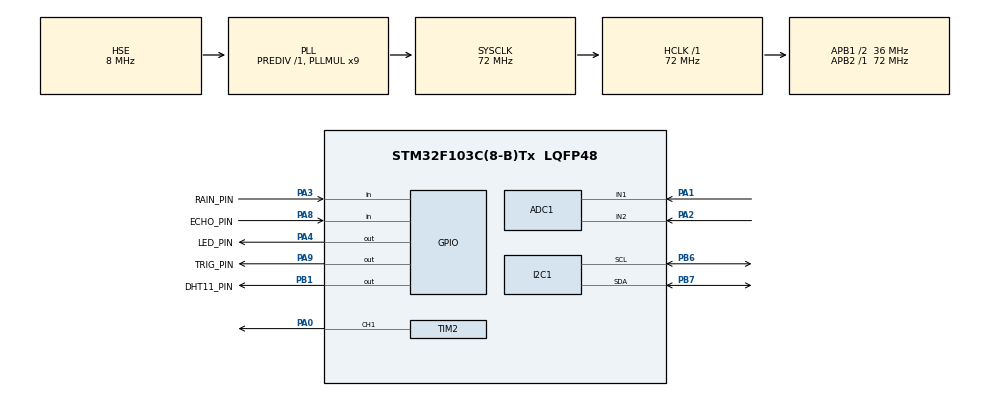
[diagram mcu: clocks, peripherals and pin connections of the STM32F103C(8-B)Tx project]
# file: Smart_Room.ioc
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ADC1.Channel-0\#ChannelRegularConversion=ADC_CHANNEL_1
ADC1.Channel-1\#ChannelRegularConversion=ADC_CHANNEL_1
ADC1.NbrOfConversion=2
ADC1.NbrOfConversionFlag=1
ADC1.Rank-0\#ChannelRegularConversion=1
ADC1.Rank-1\#ChannelRegularConversion=2
ADC1.SamplingTime-0\#ChannelRegularConversion=ADC_SAMPLETIME_1CYCLE_5
ADC1.SamplingTime-1\#ChannelRegularConversion=ADC_SAMPLETIME_1CYCLE_5
ADC1.master=1
I2C1.I2C_Mode=I2C_Fast
Mcu.Family=STM32F1
Mcu.Name=STM32F103C(8-B)Tx
Mcu.Package=LQFP48
NVIC.PriorityGroup=NVIC_PRIORITYGROUP_4
PA0-WKUP.Signal=S_TIM2_CH1_ETR
PA1.Signal=ADCx_IN1
PA13.Mode=Serial_Wire
PA13.Signal=SYS_JTMS-SWDIO
PA14.Mode=Serial_Wire
PA14.Signal=SYS_JTCK-SWCLK
PA2.Signal=ADCx_IN2
PA3.GPIO_Label=RAIN_PIN
PA3.Signal=GPIO_Input
PA4.GPIO_Label=LED_PIN
PA4.Signal=GPIO_Output
PA8.GPIO_Label=ECHO_PIN
PA8.Signal=GPIO_Input
PA9.GPIO_Label=TRIG_PIN
PA9.Signal=GPIO_Output
PB1.GPIO_Label=DHT11_PIN
PB1.Signal=GPIO_Output
PB6.Mode=I2C
PB6.Signal=I2C1_SCL
PB7.Mode=I2C
PB7.Signal=I2C1_SDA
PD0-OSC_IN.Mode=HSE-External-Oscillator
PD0-OSC_IN.Signal=RCC_OSC_IN
PD1-OSC_OUT.Mode=HSE-External-Oscillator
PD1-OSC_OUT.Signal=RCC_OSC_OUT
ProjectManager.HeapSize=0x200
ProjectManager.StackSize=0x400
ProjectManager.TargetToolchain=MDK-ARM V5.32
RCC.ADCPresc=RCC_ADCPCLK2_DIV6
RCC.AHBFreq_Value=72000000
RCC.APB1CLKDivider=RCC_HCLK_DIV2
RCC.APB1Freq_Value=36000000
RCC.APB1TimFreq_Value=72000000
RCC.APB2Freq_Value=72000000
RCC.APB2TimFreq_Value=72000000
RCC.HCLKFreq_Value=72000000
RCC.PLLMUL=RCC_PLL_MUL9
RCC.PLLSourceVirtual=RCC_PLLSOURCE_HSE
RCC.SYSCLKFreq_VALUE=72000000
RCC.SYSCLKSource=RCC_SYSCLKSOURCE_PLLCLK
RCC.USBFreq_Value=72000000
SH.ADCx_IN1.0=ADC1_IN1,IN1
SH.ADCx_IN2.0=ADC1_IN2,IN2
SH.S_TIM2_CH1_ETR.0=TIM2_CH1,PWM Generation1 CH1
TIM1.Prescaler=63
TIM2.Channel-PWM\ Generation1\ CH1=TIM_CHANNEL_1
TIM2.Period=19999
TIM2.Prescaler=63
VP_TIM1_VS_ClockSourceINT.Mode=Internal
VP_TIM2_VS_ClockSourceINT.Mode=Internal
board=custom

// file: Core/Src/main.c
/* USER CODE BEGIN Header */
/**
  ******************************************************************************
  * @file           : main.c
  * @brief          : Main program body
  ******************************************************************************
  * @attention
  *
  * Copyright (c) 2025 STMicroelectronics.
  * All rights reserved.
  *
  * This software is licensed under terms that can be found in the LICENSE file
  * in the root directory of this software component.
  * If no LICENSE file comes with this software, it is provided AS-IS.
  *
  ******************************************************************************
  */
/* USER CODE END Header */
#include "main.h"

/* USER CODE BEGIN Includes */
#include "ssd1306.h"
#include "stdio.h"
#include "string.h"
/* USER CODE END Includes */

/* USER CODE BEGIN PD */
#define SERVO_CLOSED 500
#define SERVO_OPEN   1400
/* USER CODE END PD */

ADC_HandleTypeDef hadc1;

I2C_HandleTypeDef hi2c1;

TIM_HandleTypeDef htim1;
TIM_HandleTypeDef htim2;

/* USER CODE BEGIN PV */
// Sensor Variables
uint16_t dist_cm = 0;
uint16_t smoke_val = 0;
uint16_t ldr_val = 0;
uint8_t rain_status = 1;
uint8_t temp = 0;
uint8_t humid = 0;

// Logic Flags
char oled_buffer[32];
uint8_t person_detected = 0;
uint16_t current_servo_pos = 500; // Start Closed

// NEW: Timer for the 2-second delay
uint32_t presence_timer = 0;
/* USER CODE END PV */

void SystemClock_Config(void);
static void MX_GPIO_Init(void);
static void MX_I2C1_Init(void);
static void MX_TIM1_Init(void);
static void MX_TIM2_Init(void);
static void MX_ADC1_Init(void);

/* USER CODE BEGIN 0 */

// --- 1. MICROSECOND DELAY ---
void delay_us(uint16_t us) {
    __HAL_TIM_SET_COUNTER(&htim1, 0);
    while (__HAL_TIM_GET_COUNTER(&htim1) < us);
}

// --- 2. SMOOTH SERVO CONTROL ---
void Servo_Move_To(uint16_t target_pos) {
    if (current_servo_pos == target_pos) return;
    if (current_servo_pos < target_pos) {
        for (int i = current_servo_pos; i <= target_pos; i += 20) {
            __HAL_TIM_SET_COMPARE(&htim2, TIM_CHANNEL_1, i);
            HAL_Delay(20);
        }
    } else {
        for (int i = current_servo_pos; i >= target_pos; i -= 20) {
            __HAL_TIM_SET_COMPARE(&htim2, TIM_CHANNEL_1, i);
            HAL_Delay(20);
        }
    }
    current_servo_pos = target_pos;
}

// --- 3. ROBUST SONAR SENSOR ---
uint16_t Get_Distance(void) {
    uint32_t pMillis;
    uint32_t val1 = 0;
    uint32_t val2 = 0;
    uint32_t diff = 0;

    HAL_GPIO_WritePin(TRIG_PIN_GPIO_Port, TRIG_PIN_Pin, GPIO_PIN_RESET);
    delay_us(3);
    HAL_GPIO_WritePin(TRIG_PIN_GPIO_Port, TRIG_PIN_Pin, GPIO_PIN_SET);
    delay_us(10);
    HAL_GPIO_WritePin(TRIG_PIN_GPIO_Port, TRIG_PIN_Pin, GPIO_PIN_RESET);

    pMillis = HAL_GetTick();
    while (!(HAL_GPIO_ReadPin(ECHO_PIN_GPIO_Port, ECHO_PIN_Pin))) {
        if (HAL_GetTick() - pMillis > 10) return 999;
    }
    val1 = __HAL_TIM_GET_COUNTER(&htim1);

    pMillis = HAL_GetTick();
    while ((HAL_GPIO_ReadPin(ECHO_PIN_GPIO_Port, ECHO_PIN_Pin))) {
        if (HAL_GetTick() - pMillis > 50) return 999;
    }
    val2 = __HAL_TIM_GET_COUNTER(&htim1);

    if (val2 >= val1) diff = val2 - val1;
    else diff = (0xFFFF - val1) + val2;

    uint16_t dist = diff / 58;
    if (dist > 500) return 501;
    return dist;
}

// --- 4. SAFE ADC READER (Anti-Ghosting Version) ---
uint16_t Read_ADC_Channel(uint32_t channel) {
    ADC_ChannelConfTypeDef sConfig = {0};
    sConfig.Channel = channel;
    sConfig.Rank = ADC_REGULAR_RANK_1;
    // Maximum sampling time to allow voltage to stabilize
    sConfig.SamplingTime = ADC_SAMPLETIME_239CYCLES_5;

    if (HAL_ADC_ConfigChannel(&hadc1, &sConfig) != HAL_OK) {
        Error_Handler();
    }

    // Delay to let the multiplexer switch physically settle
    delay_us(50);

    // --- READ 1: DUMMY (Flush) ---
    HAL_ADC_Start(&hadc1);
    HAL_ADC_PollForConversion(&hadc1, 100);
    volatile uint16_t dummy = HAL_ADC_GetValue(&hadc1);
    HAL_ADC_Stop(&hadc1);

    // --- READ 2: REAL (Data) ---
    HAL_ADC_Start(&hadc1);
    HAL_ADC_PollForConversion(&hadc1, 100);
    uint16_t val = HAL_ADC_GetValue(&hadc1);
    HAL_ADC_Stop(&hadc1);

    return val;
}

// --- 5. DHT11 READER ---
void Read_DHT11(void) {
    uint8_t i, j;
    uint8_t data[5] = {0};
    GPIO_InitTypeDef GPIO_InitStruct = {0};
    GPIO_InitStruct.Pin = DHT11_PIN_Pin;
    GPIO_InitStruct.Mode = GPIO_MODE_OUTPUT_PP;
    GPIO_InitStruct.Speed = GPIO_SPEED_FREQ_LOW;
    HAL_GPIO_Init(DHT11_PIN_GPIO_Port, &GPIO_InitStruct);
    HAL_GPIO_WritePin(DHT11_PIN_GPIO_Port, DHT11_PIN_Pin, GPIO_PIN_RESET);
    HAL_Delay(18);
    HAL_GPIO_WritePin(DHT11_PIN_GPIO_Port, DHT11_PIN_Pin, GPIO_PIN_SET);
    delay_us(20);
    GPIO_InitStruct.Mode = GPIO_MODE_INPUT;
    GPIO_InitStruct.Pull = GPIO_NOPULL;
    HAL_GPIO_Init(DHT11_PIN_GPIO_Port, &GPIO_InitStruct);
    delay_us(40);
    if (HAL_GPIO_ReadPin(DHT11_PIN_GPIO_Port, DHT11_PIN_Pin)) return;
    delay_us(80);
    if (!HAL_GPIO_ReadPin(DHT11_PIN_GPIO_Port, DHT11_PIN_Pin)) return;
    while (HAL_GPIO_ReadPin(DHT11_PIN_GPIO_Port, DHT11_PIN_Pin));
    for (i = 0; i < 5; i++) {
        for (j = 0; j < 8; j++) {
            while (!HAL_GPIO_ReadPin(DHT11_PIN_GPIO_Port, DHT11_PIN_Pin));
            delay_us(40);
            if (HAL_GPIO_ReadPin(DHT11_PIN_GPIO_Port, DHT11_PIN_Pin)) {
                data[i] |= (1 << (7 - j));
                while (HAL_GPIO_ReadPin(DHT11_PIN_GPIO_Port, DHT11_PIN_Pin));
            }
        }
    }
    humid = data[0];
    temp = data[2];
}
/* USER CODE END 0 */

int main(void)
{

  /* MCU Configuration--------------------------------------------------------*/

  /* Reset of all peripherals, Initializes the Flash interface and the Systick. */
  HAL_Init();

  /* USER CODE BEGIN Init */
	HAL_Delay(1000);
  /* USER CODE END Init */

  /* Configure the system clock */
  SystemClock_Config();

  /* Initialize all configured peripherals */
  MX_GPIO_Init();
  MX_I2C1_Init();
  MX_TIM1_Init();
  MX_TIM2_Init();
  MX_ADC1_Init();

	/* USER CODE BEGIN 2 */
  // 1. Hardware Stabilization
  HAL_Delay(1000);

  // 2. FORCE PA2 (Smoke) to be a Digital Input (Disconnects it from ADC)
  GPIO_InitTypeDef GPIO_InitStruct = {0};
  GPIO_InitStruct.Pin = GPIO_PIN_2;
  GPIO_InitStruct.Mode = GPIO_MODE_INPUT;
  GPIO_InitStruct.Pull = GPIO_NOPULL;
  HAL_GPIO_Init(GPIOA, &GPIO_InitStruct);

  // 3. Calibrate ADC (Fixes reset issue)
  HAL_ADCEx_Calibration_Start(&hadc1);

  // 4. Start Peripherals
  HAL_TIM_Base_Start(&htim1);
  HAL_TIM_PWM_Start(&htim2, TIM_CHANNEL_1);
  SSD1306_Init();
  SSD1306_Clear();

  SSD1306_GotoXY(10, 20);
  SSD1306_Puts("System Ready", &Font_11x18, 1);
  SSD1306_UpdateScreen();
  HAL_Delay(500);
  /* USER CODE END 2 */

  /* Infinite loop */
  /* USER CODE BEGIN WHILE */
  while (1)
  {
    // --- 1. READ SENSORS ---
    dist_cm = Get_Distance();
    Read_DHT11();

    // Digital Sensors
    rain_status = HAL_GPIO_ReadPin(RAIN_PIN_GPIO_Port, RAIN_PIN_Pin);
    uint8_t smoke_digital = HAL_GPIO_ReadPin(GPIOA, GPIO_PIN_2);

    // Analog Sensor (LDR)
    ldr_val = Read_ADC_Channel(ADC_CHANNEL_1);

    SSD1306_Clear();

    // --- 2. LOGIC HANDLING ---

    // PRIORITY 1: SMOKE (Safety Override)
    if (smoke_digital == 0) {
        SSD1306_GotoXY(15, 20);
        SSD1306_Puts("!! SMOKE !!", &Font_11x18, 1);
        Servo_Move_To(SERVO_OPEN);
        HAL_GPIO_WritePin(LED_PIN_GPIO_Port, LED_PIN_Pin, GPIO_PIN_RESET);
        presence_timer = 0;
    }

    // PRIORITY 2: PRESENCE (1 Second Delay)
    else if (dist_cm > 0 && dist_cm <= 10) {

        // Start Timer
        if (presence_timer == 0) presence_timer = HAL_GetTick();

        // Check 1 Second
        if ((HAL_GetTick() - presence_timer) > 1000) {

            // --- DISPLAY & WELCOME ---
            if (person_detected == 0) {
                SSD1306_Clear();
                SSD1306_GotoXY(20, 20);
                SSD1306_Puts("Welcome", &Font_11x18, 1);
                SSD1306_UpdateScreen();
                HAL_Delay(1000);
                person_detected = 1;
            }

            sprintf(oled_buffer, "T:%dC H:%d%%", temp, humid);
            SSD1306_GotoXY(10, 20);
            SSD1306_Puts(oled_buffer, &Font_11x18, 1);

            // --- WINDOW LOGIC (Rain Check) ---
            if (rain_status == 0) {
                Servo_Move_To(SERVO_CLOSED);
            } else {
                Servo_Move_To(SERVO_OPEN);
            }

            // --- LIGHT LOGIC (Inverted) ---
            // If Reading is LOW (< 2000), it means LIGHT is present.
            if (ldr_val < 2000) {
                // Bright -> LED OFF
                HAL_GPIO_WritePin(LED_PIN_GPIO_Port, LED_PIN_Pin, GPIO_PIN_RESET);
            } else {
                // Dark -> LED ON
                HAL_GPIO_WritePin(LED_PIN_GPIO_Port, LED_PIN_Pin, GPIO_PIN_SET);
            }
        }
        else {
            // Waiting...
            SSD1306_GotoXY(25, 25);
            SSD1306_Puts("OLED OFF", &Font_11x18, 1);
            Servo_Move_To(SERVO_CLOSED);
            HAL_GPIO_WritePin(LED_PIN_GPIO_Port, LED_PIN_Pin, GPIO_PIN_RESET);
        }
    }

    // STATE 3: VACANT
    else {
        presence_timer = 0;
        person_detected = 0;
        SSD1306_GotoXY(25, 25);
        SSD1306_Puts("OLED OFF", &Font_11x18, 1);
        Servo_Move_To(SERVO_CLOSED);
        HAL_GPIO_WritePin(LED_PIN_GPIO_Port, LED_PIN_Pin, GPIO_PIN_RESET);
    }

    SSD1306_UpdateScreen();
    HAL_Delay(50);
  }
  /* USER CODE END WHILE */

}

void SystemClock_Config(void)
{
  RCC_OscInitTypeDef RCC_OscInitStruct = {0};
  RCC_ClkInitTypeDef RCC_ClkInitStruct = {0};
  RCC_PeriphCLKInitTypeDef PeriphClkInit = {0};

  /** Initializes the RCC Oscillators according to the specified parameters
  * in the RCC_OscInitTypeDef structure.
  */
  RCC_OscInitStruct.OscillatorType = RCC_OSCILLATORTYPE_HSE;
  RCC_OscInitStruct.HSEState = RCC_HSE_ON;
  RCC_OscInitStruct.HSEPredivValue = RCC_HSE_PREDIV_DIV1;
  RCC_OscInitStruct.HSIState = RCC_HSI_ON;
  RCC_OscInitStruct.PLL.PLLState = RCC_PLL_ON;
  RCC_OscInitStruct.PLL.PLLSource = RCC_PLLSOURCE_HSE;
  RCC_OscInitStruct.PLL.PLLMUL = RCC_PLL_MUL9;
  if (HAL_RCC_OscConfig(&RCC_OscInitStruct) != HAL_OK)
  {
    Error_Handler();
  }

  /** Initializes the CPU, AHB and APB buses clocks
  */
  RCC_ClkInitStruct.ClockType = RCC_CLOCKTYPE_HCLK|RCC_CLOCKTYPE_SYSCLK
                              |RCC_CLOCKTYPE_PCLK1|RCC_CLOCKTYPE_PCLK2;
  RCC_ClkInitStruct.SYSCLKSource = RCC_SYSCLKSOURCE_PLLCLK;
  RCC_ClkInitStruct.AHBCLKDivider = RCC_SYSCLK_DIV1;
  RCC_ClkInitStruct.APB1CLKDivider = RCC_HCLK_DIV2;
  RCC_ClkInitStruct.APB2CLKDivider = RCC_HCLK_DIV1;

  if (HAL_RCC_ClockConfig(&RCC_ClkInitStruct, FLASH_LATENCY_2) != HAL_OK)
  {
    Error_Handler();
  }
  PeriphClkInit.PeriphClockSelection = RCC_PERIPHCLK_ADC;
  PeriphClkInit.AdcClockSelection = RCC_ADCPCLK2_DIV6;
  if (HAL_RCCEx_PeriphCLKConfig(&PeriphClkInit) != HAL_OK)
  {
    Error_Handler();
  }
}

static void MX_ADC1_Init(void)
{

  ADC_ChannelConfTypeDef sConfig = {0};

  /** Common config
  */
  hadc1.Instance = ADC1;
  hadc1.Init.ScanConvMode = ADC_SCAN_ENABLE;
  hadc1.Init.ContinuousConvMode = DISABLE;
  hadc1.Init.DiscontinuousConvMode = DISABLE;
  hadc1.Init.ExternalTrigConv = ADC_SOFTWARE_START;
  hadc1.Init.DataAlign = ADC_DATAALIGN_RIGHT;
  hadc1.Init.NbrOfConversion = 2;
  if (HAL_ADC_Init(&hadc1) != HAL_OK)
  {
    Error_Handler();
  }

  /** Configure Regular Channel
  */
  sConfig.Channel = ADC_CHANNEL_1;
  sConfig.Rank = ADC_REGULAR_RANK_1;
  sConfig.SamplingTime = ADC_SAMPLETIME_1CYCLE_5;
  if (HAL_ADC_ConfigChannel(&hadc1, &sConfig) != HAL_OK)
  {
    Error_Handler();
  }

  /** Configure Regular Channel
  */
  sConfig.Rank = ADC_REGULAR_RANK_2;
  if (HAL_ADC_ConfigChannel(&hadc1, &sConfig) != HAL_OK)
  {
    Error_Handler();
  }

}

static void MX_I2C1_Init(void)
{

  hi2c1.Instance = I2C1;
  hi2c1.Init.ClockSpeed = 400000;
  hi2c1.Init.DutyCycle = I2C_DUTYCYCLE_2;
  hi2c1.Init.OwnAddress1 = 0;
  hi2c1.Init.AddressingMode = I2C_ADDRESSINGMODE_7BIT;
  hi2c1.Init.DualAddressMode = I2C_DUALADDRESS_DISABLE;
  hi2c1.Init.OwnAddress2 = 0;
  hi2c1.Init.GeneralCallMode = I2C_GENERALCALL_DISABLE;
  hi2c1.Init.NoStretchMode = I2C_NOSTRETCH_DISABLE;
  if (HAL_I2C_Init(&hi2c1) != HAL_OK)
  {
    Error_Handler();
  }

}

static void MX_TIM1_Init(void)
{

  TIM_ClockConfigTypeDef sClockSourceConfig = {0};
  TIM_MasterConfigTypeDef sMasterConfig = {0};

  htim1.Instance = TIM1;
  htim1.Init.Prescaler = 71;
  htim1.Init.CounterMode = TIM_COUNTERMODE_UP;
  htim1.Init.Period = 65535;
  htim1.Init.ClockDivision = TIM_CLOCKDIVISION_DIV1;
  htim1.Init.RepetitionCounter = 0;
  htim1.Init.AutoReloadPreload = TIM_AUTORELOAD_PRELOAD_DISABLE;
  if (HAL_TIM_Base_Init(&htim1) != HAL_OK)
  {
    Error_Handler();
  }
  sClockSourceConfig.ClockSource = TIM_CLOCKSOURCE_INTERNAL;
  if (HAL_TIM_ConfigClockSource(&htim1, &sClockSourceConfig) != HAL_OK)
  {
    Error_Handler();
  }
  sMasterConfig.MasterOutputTrigger = TIM_TRGO_RESET;
  sMasterConfig.MasterSlaveMode = TIM_MASTERSLAVEMODE_DISABLE;
  if (HAL_TIMEx_MasterConfigSynchronization(&htim1, &sMasterConfig) != HAL_OK)
  {
    Error_Handler();
  }

}

static void MX_TIM2_Init(void)
{

  TIM_ClockConfigTypeDef sClockSourceConfig = {0};
  TIM_MasterConfigTypeDef sMasterConfig = {0};
  TIM_OC_InitTypeDef sConfigOC = {0};

  htim2.Instance = TIM2;
  htim2.Init.Prescaler = 71;
  htim2.Init.CounterMode = TIM_COUNTERMODE_UP;
  htim2.Init.Period = 19999;
  htim2.Init.ClockDivision = TIM_CLOCKDIVISION_DIV1;
  htim2.Init.AutoReloadPreload = TIM_AUTORELOAD_PRELOAD_DISABLE;
  if (HAL_TIM_Base_Init(&htim2) != HAL_OK)
  {
    Error_Handler();
  }
  sClockSourceConfig.ClockSource = TIM_CLOCKSOURCE_INTERNAL;
  if (HAL_TIM_ConfigClockSource(&htim2, &sClockSourceConfig) != HAL_OK)
  {
    Error_Handler();
  }
  if (HAL_TIM_PWM_Init(&htim2) != HAL_OK)
  {
    Error_Handler();
  }
  sMasterConfig.MasterOutputTrigger = TIM_TRGO_RESET;
  sMasterConfig.MasterSlaveMode = TIM_MASTERSLAVEMODE_DISABLE;
  if (HAL_TIMEx_MasterConfigSynchronization(&htim2, &sMasterConfig) != HAL_OK)
  {
    Error_Handler();
  }
  sConfigOC.OCMode = TIM_OCMODE_PWM1;
  sConfigOC.Pulse = 0;
  sConfigOC.OCPolarity = TIM_OCPOLARITY_HIGH;
  sConfigOC.OCFastMode = TIM_OCFAST_DISABLE;
  if (HAL_TIM_PWM_ConfigChannel(&htim2, &sConfigOC, TIM_CHANNEL_1) != HAL_OK)
  {
    Error_Handler();
  }
  HAL_TIM_MspPostInit(&htim2);

}

static void MX_GPIO_Init(void)
{
  GPIO_InitTypeDef GPIO_InitStruct = {0};

  /* GPIO Ports Clock Enable */
  __HAL_RCC_GPIOD_CLK_ENABLE();
  __HAL_RCC_GPIOA_CLK_ENABLE();
  __HAL_RCC_GPIOB_CLK_ENABLE();

  /*Configure GPIO pin Output Level */
  HAL_GPIO_WritePin(GPIOA, LED_PIN_Pin|TRIG_PIN_Pin, GPIO_PIN_RESET);

  /*Configure GPIO pin Output Level */
  HAL_GPIO_WritePin(DHT11_PIN_GPIO_Port, DHT11_PIN_Pin, GPIO_PIN_RESET);

  /*Configure GPIO pins : RAIN_PIN_Pin ECHO_PIN_Pin */
  GPIO_InitStruct.Pin = RAIN_PIN_Pin|ECHO_PIN_Pin;
  GPIO_InitStruct.Mode = GPIO_MODE_INPUT;
  GPIO_InitStruct.Pull = GPIO_NOPULL;
  HAL_GPIO_Init(GPIOA, &GPIO_InitStruct);

  /*Configure GPIO pins : LED_PIN_Pin TRIG_PIN_Pin */
  GPIO_InitStruct.Pin = LED_PIN_Pin|TRIG_PIN_Pin;
  GPIO_InitStruct.Mode = GPIO_MODE_OUTPUT_PP;
  GPIO_InitStruct.Pull = GPIO_NOPULL;
  GPIO_InitStruct.Speed = GPIO_SPEED_FREQ_LOW;
  HAL_GPIO_Init(GPIOA, &GPIO_InitStruct);

  /*Configure GPIO pin : DHT11_PIN_Pin */
  GPIO_InitStruct.Pin = DHT11_PIN_Pin;
  GPIO_InitStruct.Mode = GPIO_MODE_OUTPUT_PP;
  GPIO_InitStruct.Pull = GPIO_NOPULL;
  GPIO_InitStruct.Speed = GPIO_SPEED_FREQ_LOW;
  HAL_GPIO_Init(DHT11_PIN_GPIO_Port, &GPIO_InitStruct);

}

void Error_Handler(void)
{
  __disable_irq();
  while (1)
  {
  }
}
